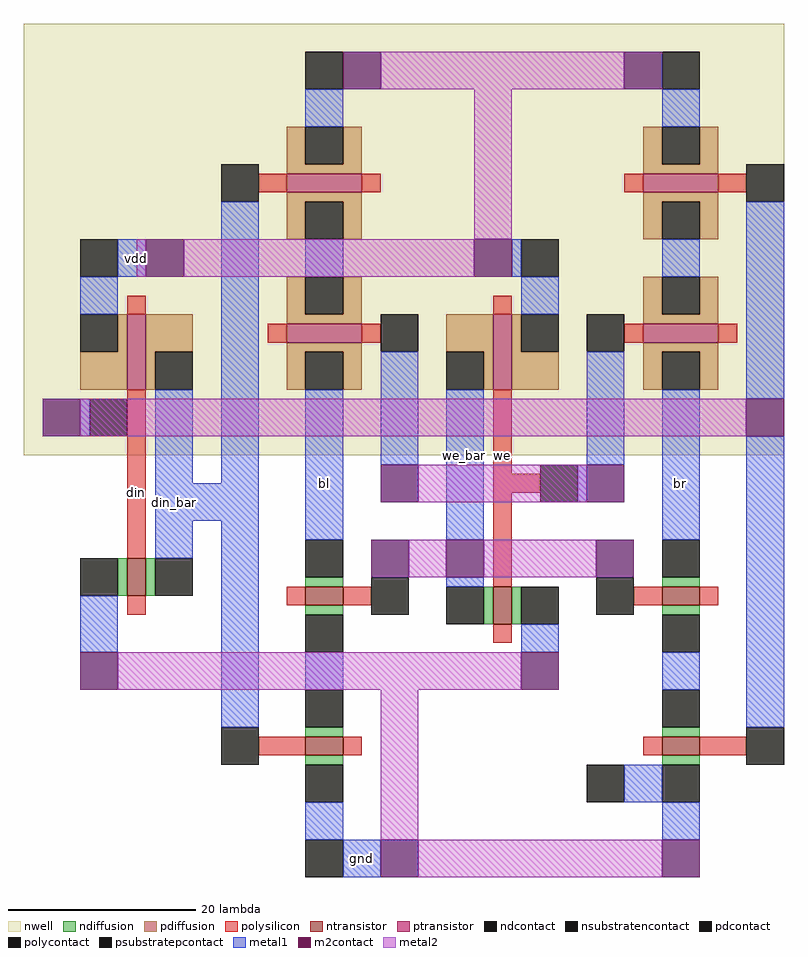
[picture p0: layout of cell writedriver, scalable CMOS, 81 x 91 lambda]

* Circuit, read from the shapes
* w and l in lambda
.subckt writedriver bl br din din_bar gnd vdd we we_bar
M1 din_bar din gnd gnd nfet w=4 l=2
M2 n1 din_bar gnd gnd nfet w=4 l=2
M3 bl we_bar n1 gnd nfet w=4 l=2
M4 gnd we we_bar gnd nfet w=4 l=2
M5 n2 din gnd gnd nfet w=4 l=2
M6 br we_bar n2 gnd nfet w=4 l=2
M7 din_bar din vdd vdd pfet w=8 l=2
M8 n3 we bl vdd pfet w=8 l=2
M9 vdd din_bar n3 vdd pfet w=8 l=2
M10 vdd we we_bar vdd pfet w=8 l=2
M11 n4 we br vdd pfet w=8 l=2
M12 vdd din n4 vdd pfet w=8 l=2
.ends

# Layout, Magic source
magic
tech scmos
<< nwell >>
rect 1 -24 82 22
<< ntransistor >>
rect 12 -39 14 -35
rect 31 -40 35 -38
rect 51 -42 53 -38
rect 69 -40 73 -38
rect 31 -56 35 -54
rect 69 -56 73 -54
<< ptransistor >>
rect 29 4 37 6
rect 67 4 75 6
rect 12 -17 14 -9
rect 29 -12 37 -10
rect 51 -17 53 -9
rect 67 -12 75 -10
<< ndiffusion >>
rect 11 -39 12 -35
rect 14 -39 15 -35
rect 31 -38 35 -37
rect 31 -41 35 -40
rect 50 -42 51 -38
rect 53 -42 54 -38
rect 69 -38 73 -37
rect 69 -41 73 -40
rect 31 -54 35 -53
rect 69 -54 73 -53
rect 31 -57 35 -56
rect 69 -57 73 -56
<< pdiffusion >>
rect 29 7 31 11
rect 35 7 37 11
rect 29 6 37 7
rect 67 7 69 11
rect 73 7 75 11
rect 67 6 75 7
rect 29 3 37 4
rect 29 -1 31 3
rect 35 -1 37 3
rect 67 3 75 4
rect 67 -1 69 3
rect 73 -1 75 3
rect 29 -9 31 -5
rect 35 -9 37 -5
rect 67 -9 69 -5
rect 73 -9 75 -5
rect 11 -13 12 -9
rect 7 -17 12 -13
rect 14 -13 19 -9
rect 29 -10 37 -9
rect 14 -17 15 -13
rect 29 -13 37 -12
rect 46 -13 51 -9
rect 29 -17 31 -13
rect 35 -17 37 -13
rect 50 -17 51 -13
rect 53 -13 54 -9
rect 67 -10 75 -9
rect 67 -13 75 -12
rect 53 -17 58 -13
rect 67 -17 69 -13
rect 73 -17 75 -13
<< ndcontact >>
rect 7 -39 11 -35
rect 15 -39 19 -35
rect 31 -37 35 -33
rect 69 -37 73 -33
rect 31 -45 35 -41
rect 46 -42 50 -38
rect 54 -42 58 -38
rect 69 -45 73 -41
rect 31 -53 35 -49
rect 69 -53 73 -49
rect 31 -61 35 -57
rect 69 -61 73 -57
<< pdcontact >>
rect 31 7 35 11
rect 69 7 73 11
rect 31 -1 35 3
rect 69 -1 73 3
rect 31 -9 35 -5
rect 69 -9 73 -5
rect 7 -13 11 -9
rect 15 -17 19 -13
rect 31 -17 35 -13
rect 46 -17 50 -13
rect 54 -13 58 -9
rect 69 -17 73 -13
<< psubstratepcontact >>
rect 61 -61 65 -57
rect 31 -69 35 -65
<< nsubstratencontact >>
rect 31 15 35 19
rect 69 15 73 19
rect 7 -5 11 -1
rect 54 -5 58 -1
<< polysilicon >>
rect 26 4 29 6
rect 37 4 39 6
rect 65 4 67 6
rect 75 4 78 6
rect 12 -9 14 -7
rect 51 -9 53 -7
rect 27 -12 29 -10
rect 37 -12 39 -10
rect 65 -12 67 -10
rect 75 -12 77 -10
rect 12 -35 14 -17
rect 51 -26 53 -17
rect 51 -28 56 -26
rect 12 -41 14 -39
rect 29 -40 31 -38
rect 35 -40 38 -38
rect 51 -38 53 -28
rect 66 -40 69 -38
rect 73 -40 75 -38
rect 51 -44 53 -42
rect 26 -56 31 -54
rect 35 -56 37 -54
rect 67 -56 69 -54
rect 73 -56 78 -54
<< polycontact >>
rect 22 3 26 7
rect 78 3 82 7
rect 39 -13 43 -9
rect 61 -13 65 -9
rect 8 -22 12 -18
rect 38 -41 42 -37
rect 56 -29 60 -25
rect 62 -41 66 -37
rect 22 -57 26 -53
rect 78 -57 82 -53
<< metal1 >>
rect 31 11 35 15
rect 69 11 73 15
rect 11 -5 14 -1
rect 7 -9 11 -5
rect 7 -22 8 -18
rect 15 -27 19 -17
rect 22 -27 26 3
rect 31 -5 35 -1
rect 53 -5 54 -1
rect 54 -9 58 -5
rect 69 -5 73 -1
rect 15 -31 26 -27
rect 15 -35 19 -31
rect 7 -45 11 -39
rect 22 -53 26 -31
rect 31 -33 35 -17
rect 39 -25 43 -13
rect 46 -33 50 -17
rect 61 -25 65 -13
rect 60 -29 61 -25
rect 69 -33 73 -17
rect 46 -38 50 -37
rect 78 -18 82 3
rect 31 -49 35 -45
rect 54 -45 58 -42
rect 69 -49 73 -45
rect 78 -53 82 -22
rect 65 -61 69 -57
rect 31 -65 35 -61
rect 69 -65 73 -61
rect 35 -69 39 -65
<< m2contact >>
rect 35 15 39 19
rect 65 15 69 19
rect 14 -5 18 -1
rect 3 -22 7 -18
rect 49 -5 53 -1
rect 7 -49 11 -45
rect 39 -29 43 -25
rect 61 -29 65 -25
rect 38 -37 42 -33
rect 46 -37 50 -33
rect 62 -37 66 -33
rect 78 -22 82 -18
rect 54 -49 58 -45
rect 39 -69 43 -65
rect 69 -69 73 -65
<< metal2 >>
rect 39 15 65 19
rect 49 -1 53 15
rect 13 -5 14 -1
rect 18 -5 49 -1
rect 7 -22 78 -18
rect 43 -29 61 -25
rect 42 -37 46 -33
rect 50 -37 62 -33
rect 11 -49 54 -45
rect 39 -65 43 -49
rect 43 -69 69 -65
<< labels >>
rlabel metal1 13 -3 13 -3 1 vdd
rlabel metal1 71 -27 71 -27 1 br
rlabel metal1 33 -27 33 -27 1 bl
rlabel polysilicon 13 -28 13 -28 1 din
rlabel metal1 17 -29 17 -29 1 din_bar
rlabel metal1 48 -24 48 -24 1 we_bar
rlabel polysilicon 52 -24 52 -24 1 we
rlabel metal1 37 -67 37 -67 1 gnd
<< end >>
